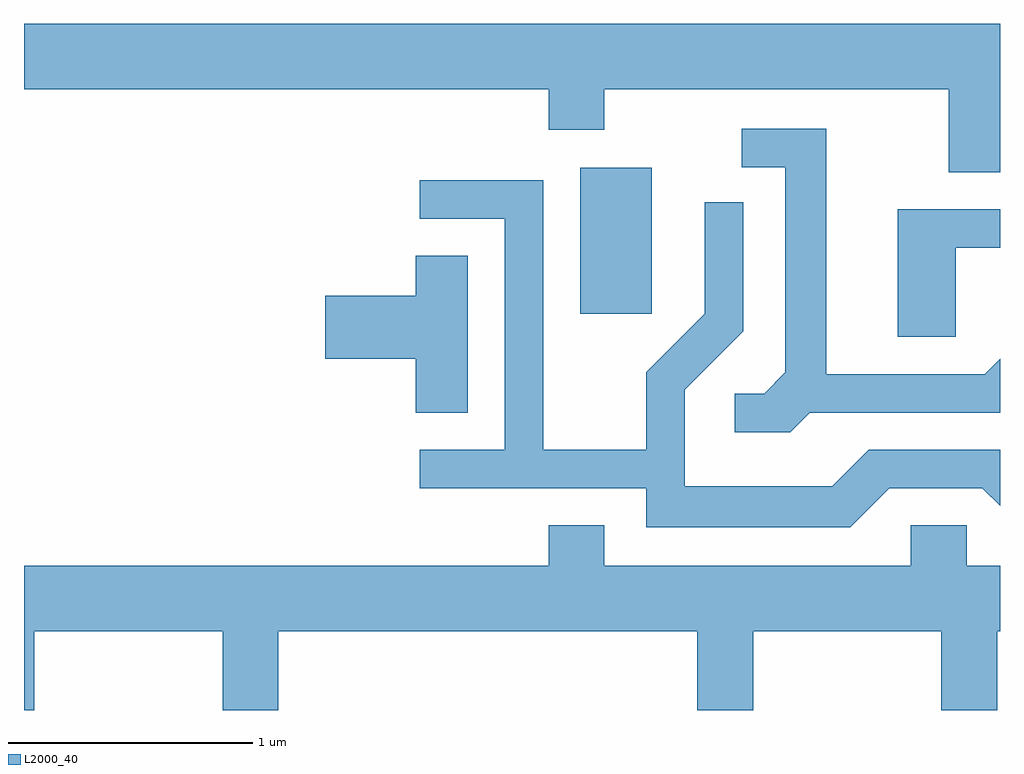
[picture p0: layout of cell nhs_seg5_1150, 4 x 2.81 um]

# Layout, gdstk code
import gdstk
lib = gdstk.Library(unit=1e-6, precision=1e-09)
def R(c, l, rs):  # rectangles x0, y0, x1, y1
    for r in rs: c.add(gdstk.rectangle(r[:2], r[2:], *l))
def P(c, l, *ps):  # polygons
    for p in ps: c.add(gdstk.Polygon(p, *l))
L2000_40 = (2000, 40)

nhs_seg5_1150 = lib.new_cell('nhs_seg5_1150')
R(nhs_seg5_1150, L2000_40, [(221.891,1413.696,222.184,1414.294)])
P(nhs_seg5_1150, L2000_40, [(223.611,1414.884),(219.611,1414.884),(219.611,1414.616),(221.761,1414.616),(221.761,1414.451),(221.989,1414.451),(221.989,1414.616),(223.401,1414.616),(223.401,1414.276),(223.611,1414.276)],
  [(222.832,1413.291),(223.611,1413.291),(223.611,1413.512),(223.549,1413.449),(222.899,1413.449),(222.899,1414.454),(222.553,1414.454),(222.553,1414.296),(222.731,1414.296),(222.731,1413.457),(222.644,1413.369),(222.523,1413.369),(222.523,1413.211),(222.752,1413.211)],
  [(223.157,1412.981),(223.539,1412.981),(223.611,1412.909),(223.611,1413.139),(223.074,1413.139),(222.924,1412.989),(222.319,1412.989),(222.319,1413.384),(222.559,1413.624),(222.559,1414.153),(222.401,1414.153),(222.401,1413.697),(222.161,1413.457),(222.161,1413.139),(221.739,1413.139),(221.739,1414.244),(221.233,1414.244),(221.233,1414.086),(221.581,1414.086),(221.581,1413.139),(221.233,1413.139),(221.233,1412.981),(222.161,1412.981),(222.161,1412.821),(222.997,1412.821)],
  [(223.429,1413.966),(223.611,1413.966),(223.611,1414.124),(223.191,1414.124),(223.191,1413.601),(223.429,1413.601)],
  [(221.429,1413.934),(221.216,1413.934),(221.216,1413.769),(220.846,1413.769),(220.846,1413.511),(221.216,1413.511),(221.216,1413.291),(221.429,1413.291)],
  [(219.654,1412.396),(220.426,1412.396),(220.426,1412.072),(220.654,1412.072),(220.654,1412.396),(222.371,1412.396),(222.371,1412.072),(222.599,1412.072),(222.599,1412.396),(223.371,1412.396),(223.371,1412.072),(223.599,1412.072),(223.599,1412.396),(223.611,1412.396),(223.611,1412.664),(223.474,1412.664),(223.474,1412.829),(223.246,1412.829),(223.246,1412.664),(221.989,1412.664),(221.989,1412.829),(221.761,1412.829),(221.761,1412.664),(219.611,1412.664),(219.611,1412.072),(219.654,1412.072)])

lib.write_gds('nhs_seg5_1150.gds')
